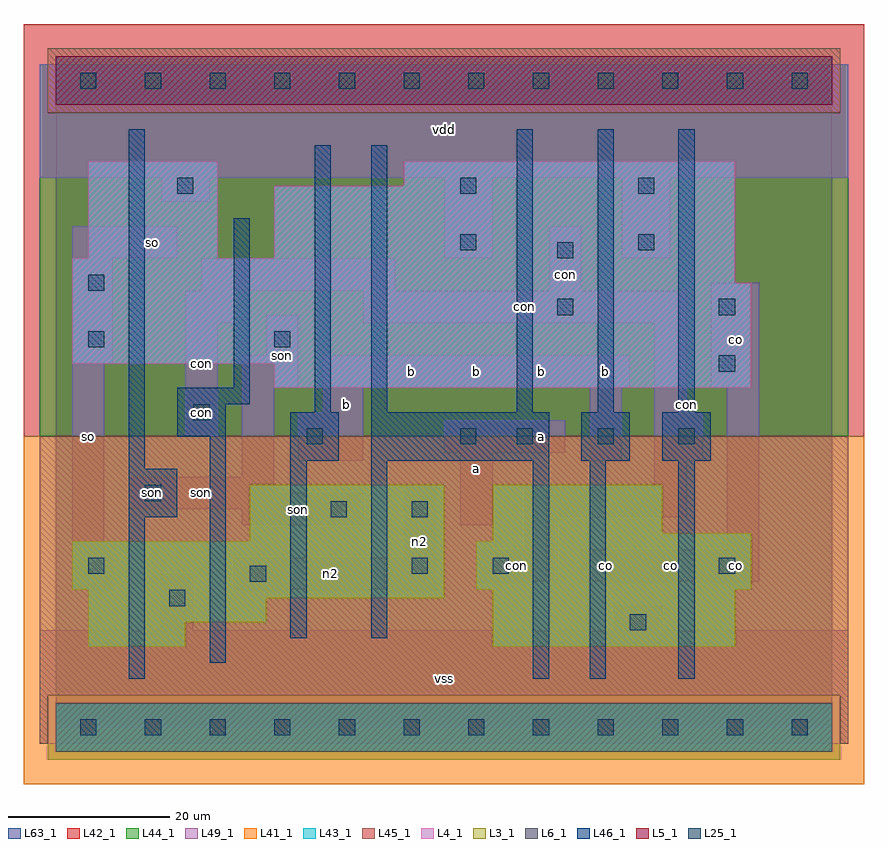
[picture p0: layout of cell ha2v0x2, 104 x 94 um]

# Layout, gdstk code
import gdstk
lib = gdstk.Library(unit=1e-6, precision=1e-09)
def R(c, l, rs):  # rectangles x0, y0, x1, y1
    for r in rs: c.add(gdstk.rectangle(r[:2], r[2:], *l))
def A(c, l, x, y, w, h, nx, ny, dx, dy):  # array of equal rectangles
    R(c, l, [(x+i*dx, y+j*dy, x+i*dx+w, y+j*dy+h) for i in range(nx) for j in range(ny)])
L3_1 = (3, 1)
L4_1 = (4, 1)
L5_1 = (5, 1)
L6_1 = (6, 1)
L25_1 = (25, 1)
L41_1 = (41, 1)
L42_1 = (42, 1)
L43_1 = (43, 1)
L44_1 = (44, 1)
L45_1 = (45, 1)
L46_1 = (46, 1)
L49_1 = (49, 1)
L63_1 = (63, 1)

ha2v0x2 = lib.new_cell('ha2v0x2')
R(ha2v0x2, L3_1, [(4,10,16,13), (54,10,84,17), (4,13,26,16), (4,16,48,17), (2,17,48,23), (52,17,86,23), (24,23,48,30), (54,23,86,24), (54,24,75,30)])
R(ha2v0x2, L4_1, [(27,42,86,45), (2,45,86,55), (2,55,84,58), (4,58,20,70), (27,58,84,67), (43,67,84,70)])
R(ha2v0x2, L5_1, [(0,77,96,83)])
R(ha2v0x2, L6_1, [(0,-3,96,3), (0,-3,96,3)])
A(ha2v0x2, L25_1, 3, -1, 2, 2, 12, 2, 8, 80)
A(ha2v0x2, L25_1, 57, 35, 2, 2, 3, 1, 10, 0)
R(ha2v0x2, L25_1, [(71,12,73,14), (14,15,16,17), (24,18,26,20), (4,19,6,21), (44,19,46,21), (54,19,56,21), (82,19,84,21), (34,26,36,28), (44,26,46,28), (11,28,13,30), (31,35,33,37), (50,35,52,37), (17,38,19,40), (82,44,84,46), (4,47,6,49), (27,47,29,49), (62,51,64,53), (82,51,84,53), (4,54,6,56), (62,58,64,60), (50,59,52,61), (72,59,74,61), (15,66,17,68), (50,66,52,68), (72,66,74,68)])
R(ha2v0x2, L41_1, [(-4,-7,100,36)])
R(ha2v0x2, L42_1, [(-4,36,100,87)])
R(ha2v0x2, L43_1, [(0,-3,96,3), (4,10,16,13), (54,10,84,17), (4,13,26,16), (4,16,48,17), (2,17,48,23), (52,17,86,23), (24,23,48,30), (54,23,86,24), (54,24,75,30), (27,42,86,45), (2,45,86,55), (2,55,84,58), (4,58,20,70), (27,58,84,67), (43,67,84,70), (0,77,96,83)])
R(ha2v0x2, L44_1, [(-1,-4,97,4), (-2,36,98,76), (-2,76,-1,82), (97,76,98,82)])
R(ha2v0x2, L45_1, [(-2,-2,-1,4), (97,-2,98,4), (-2,4,98,36), (-1,76,97,84)])
A(ha2v0x2, L46_1, 57, 39, 2, 35, 3, 1, 10, 0)
R(ha2v0x2, L46_1, [(9,6,11,26), (59,6,61,33), (66,6,68,33), (77,6,79,33), (19,8,21,36), (29,11,31,33), (39,11,41,33), (9,26,15,32), (9,32,11,74), (29,33,35,39), (39,33,61,39), (65,33,71,39), (75,33,81,39), (15,36,21,40), (32,39,34,72), (39,39,41,72), (15,40,24,42), (22,42,24,63)])
R(ha2v0x2, L49_1, [(-2,-2,98,12), (13,12,17,19), (69,12,75,15), (2,17,7,23), (22,17,47,21), (52,18,62,22), (65,18,87,22), (43,21,47,30), (58,22,62,26), (83,22,87,42), (2,23,6,45), (23,25,38,27), (50,25,54,34), (58,26,78,30), (9,27,38,29), (9,29,27,31), (74,30,78,33), (23,31,27,42), (30,33,38,39), (66,33,70,42), (74,33,80,39), (48,34,63,38), (16,36,20,50), (33,39,38,42), (74,39,78,50), (23,42,30,46), (33,42,71,46), (81,42,87,55), (2,45,7,58), (26,46,30,51), (16,50,22,54), (38,50,78,54), (18,54,42,58), (61,54,65,62), (2,58,15,62), (48,58,54,68), (70,58,76,68), (13,65,19,68), (-2,68,98,82)])
R(ha2v0x2, L63_1, [(0,0,96,80)])
ha2v0x2.add(gdstk.Label('son', (12,29), layer=49, texttype=1))
ha2v0x2.add(gdstk.Label('con', (18,39), layer=49, texttype=1))
ha2v0x2.add(gdstk.Label('con', (78,40), layer=46, texttype=1))
ha2v0x2.add(gdstk.Label('so', (4,36), layer=49, texttype=1))
ha2v0x2.add(gdstk.Label('so', (12,60), layer=49, texttype=1))
ha2v0x2.add(gdstk.Label('son', (18,29), layer=49, texttype=1))
ha2v0x2.add(gdstk.Label('son', (28,46), layer=49, texttype=1))
ha2v0x2.add(gdstk.Label('con', (18,45), layer=49, texttype=1))
ha2v0x2.add(gdstk.Label('vss', (48,6), layer=49, texttype=1))
ha2v0x2.add(gdstk.Label('son', (30,27), layer=49, texttype=1))
ha2v0x2.add(gdstk.Label('n2', (34,19), layer=49, texttype=1))
ha2v0x2.add(gdstk.Label('n2', (45,23), layer=49, texttype=1))
ha2v0x2.add(gdstk.Label('a', (52,32), layer=49, texttype=1))
ha2v0x2.add(gdstk.Label('b', (36,40), layer=49, texttype=1))
ha2v0x2.add(gdstk.Label('b', (52,44), layer=49, texttype=1))
ha2v0x2.add(gdstk.Label('b', (44,44), layer=49, texttype=1))
ha2v0x2.add(gdstk.Label('vdd', (48,74), layer=49, texttype=1))
ha2v0x2.add(gdstk.Label('con', (57,20), layer=49, texttype=1))
ha2v0x2.add(gdstk.Label('co', (76,20), layer=49, texttype=1))
ha2v0x2.add(gdstk.Label('co', (68,20), layer=49, texttype=1))
ha2v0x2.add(gdstk.Label('a', (60,36), layer=49, texttype=1))
ha2v0x2.add(gdstk.Label('b', (60,44), layer=49, texttype=1))
ha2v0x2.add(gdstk.Label('b', (68,44), layer=49, texttype=1))
ha2v0x2.add(gdstk.Label('con', (63,56), layer=49, texttype=1))
ha2v0x2.add(gdstk.Label('con', (58,52), layer=49, texttype=1))
ha2v0x2.add(gdstk.Label('con', (76,40), layer=49, texttype=1))
ha2v0x2.add(gdstk.Label('co', (84,20), layer=49, texttype=1))
ha2v0x2.add(gdstk.Label('co', (84,48), layer=49, texttype=1))

lib.write_gds('ha2v0x2.gds')
